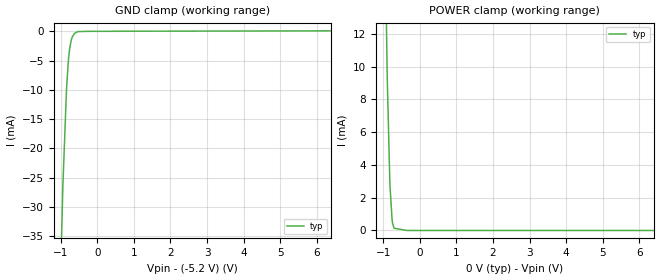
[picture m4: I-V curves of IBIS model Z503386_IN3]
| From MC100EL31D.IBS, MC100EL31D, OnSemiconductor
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| (C) COPYRIGHT 1993-2000
| MENTOR GRAPHICS CORPORATION
| ICX STANDARD LIBRARY, ICX PROJECT MODELING,
| ICX CUSTOM MODELING, ICX VENDOR MODEL
| ALL RIGHTS RESERVED.
| THE FOLLOWING ARE TRADEMARKS OR SERVICE MARKS OF
| MENTOR GRAPHICS CORPORATION:ICX (R), ICX STANDARD
| LIBRARY(R), ICX PROJECT MODELING(R), ICX CUSTOM
| MODELING(R), qualityIBIS(TM), MODELVIEWER(TM),
| AND MODELEDITOR(TM)
| ALL COPIES OF SOFTWARE, INCLUDING BUT NOT LIMITED TO
| ANY MODIFICATIONS, ENHANCEMENTS OR DERIVATIVE WORKS,
| MUST CONTAIN ALL MENTOR GRAPHICS CORPORATION'S
| NOTICES AND LEGENDS, INCLUDING THOSE EMBEDDED IN
| SOFTWARE AND THOSE AFFIXED TO SOFTWARE MEDIUM
| AND CONTAINER, AS RECEIVED FROM MENTOR GRAPHICS
| CORPORATION.
| Model Application Version 1.89 2/18/99.
[Model] Z503386_IN3
Model_type Input_ECL
Vinl = -1.475V
Vinh = -1.165V
C_comp 8.000pF NA NA
| variable typ   min   max
[Voltage Range] -5.200V NA NA
[GND Clamp Reference] -5.200V NA NA
[POWER Clamp Reference] 0.000V NA NA
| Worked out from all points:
|   GND clamp passes 1 mA (typ) near -0.69 V on its own axis
|   POWER clamp passes 1 mA (typ) near -0.77 V on its own axis
[GND Clamp]
-5.2V     -1.044A    NA         NA
-943mV    -26.15mA   NA         NA
-845mV    -9.963mA   NA         NA
-796mV    -5.147mA   NA         NA
-759mV    -2.955mA   NA         NA
-712mV    -1.444mA   NA         NA
-679mV    -878.1uA   NA         NA
-625mV    -396.6uA   NA         NA
-567mV    -154.5uA   NA         NA
-525mV    -65.56uA   NA         NA
-262.5mV  -16.9uA    NA         NA
10.4V     113.8uA    NA         NA
[POWER Clamp]
-5.2V     1.43A      NA         NA
-1.171V   60.88mA    NA         NA
-1.052V   33.17mA    NA         NA
-893.6mV  9.387mA    NA         NA
-820.1mV  2.797mA    NA         NA
-761.9mV  698.2uA    NA         NA
-746.7mV  431.6uA    NA         NA
-703.7mV  134.4uA    NA         NA
-351.9mV  0A         NA         NA
10.4V     0A         NA         NA
